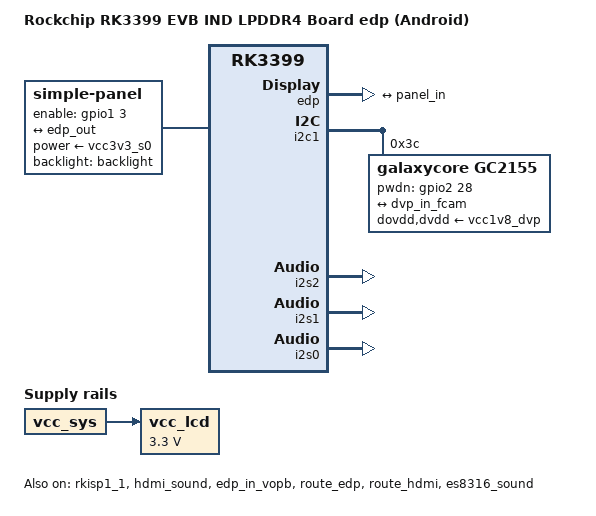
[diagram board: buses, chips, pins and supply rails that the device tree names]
// SPDX-License-Identifier: (GPL-2.0+ OR MIT)
/*
 * Copyright (c) 2019 Fuzhou Rockchip Electronics Co., Ltd
 */

/dts-v1/;

#include "rk3399-evb-ind-r08.dtsi"
#include "rk3399-android.dtsi"

/ {
	model = "Rockchip RK3399 EVB IND LPDDR4 Board edp (Android)";
	compatible = "rockchip,android", "rockchip,rk3399-evb-ind-lpddr4-android-r08", "rockchip,rk3399";
	chosen: chosen {
		bootargs = "earlycon=uart8250,mmio32,0xff1a0000 console=ttyFIQ0 androidboot.baseband=N/A androidboot.veritymode=enforcing androidboot.hardware=rk30board androidboot.console=ttyFIQ0 init=/init initrd=0x62000001,0x00800000 coherent_pool=1m";
	};

	iram: sram@ff8d0000 {
		compatible = "mmio-sram";
		reg = <0x0 0xff8d0000 0x0 0x20000>;
	};

	vcc_lcd: vcc-lcd {
		compatible = "regulator-fixed";
		regulator-name = "vcc_lcd";
		startup-delay-us = <20000>;
		enable-active-high;
		regulator-min-microvolt = <3300000>;
		regulator-max-microvolt = <3300000>;
		regulator-boot-on;
		vin-supply = <&vcc_sys>;
	};

	panel: panel {
		compatible = "simple-panel";
		backlight = <&backlight>;
		power-supply = <&vcc3v3_s0>;
		enable-gpios = <&gpio1 3 GPIO_ACTIVE_HIGH>;
		pinctrl-names = "default"; 
		pinctrl-0 = <&lcd_en>; 
	
		//WF1413 panel
		//prepare-delay-ms = <20>;
		//reset-delay-ms = <20>;
		//enable-delay-ms = <20>;
		
		//WF1713 panel
		reset-delay-ms = <60>;
		enable-delay-ms = <60>;
		prepare-delay-ms = <60>;
		unprepare-delay-ms = <60>;
		disable-delay-ms = <60>;
		
		bpc = <8>; //rocky
		bus-format = <MEDIA_BUS_FMT_RGB888_1X24>;//rocky
		//bpc = <6>;
		//bus-format = <MEDIA_BUS_FMT_RGB666_1X18>;//R156X40-196-1201
		
		display-timings {
			native-mode = <&timing0>;

			timing0: timing0 {
				clock-frequency = <138500000>;
				hactive = <1920>;
				vactive = <1080>;
				hfront-porch = <134>;
				hsync-len = <26>;
				hback-porch = <24>;
				vfront-porch = <16>;
				vsync-len = <6>;
				vback-porch = <14>;
				hsync-active = <0>;
				vsync-active = <0>;
				de-active = <0>;
				pixelclk-active = <0>;
			};
		};

		ports {
			panel_in: endpoint {
				remote-endpoint = <&edp_out>;
			};
		};
	};

	test-power {
		status = "okay";
	};
};

&backlight {
	enable-gpios = <&gpio1 10 GPIO_ACTIVE_LOW>;
	pinctrl-names = "default"; 
	pinctrl-0 = <&bl_en>; 
};

&dmac_bus {
	iram = <&iram>;
	rockchip,force-iram;
};

&dp_sound {
	status = "disabled";
};

&edp {
	status = "okay";
	force-hpd;

	ports {
		port@1 {
			reg = <1>;

			edp_out: endpoint {
				remote-endpoint = <&panel_in>;
			};
		};
	};
};

&i2c1 {
	status = "okay";

	gc2155: gc2155@3c {
		status = "okay";
		compatible = "galaxycore,gc2155";
		
		reg = <0x3c>;

		clocks = <&cru SCLK_CIF_OUT>;
		clock-names = "xvclk";

		//avdd-supply = <&vcc2v8_dvp>;
		dovdd-supply = <&vcc1v8_dvp>;
		dvdd-supply = <&vcc1v8_dvp>;

		pwdn-gpios = <&gpio2 28 GPIO_ACTIVE_HIGH>;
		rockchip,camera-module-index = <1>;
		rockchip,camera-module-facing = "front";		//"front";
		rockchip,camera-module-name = "CameraKing";
		rockchip,camera-module-lens-name = "Largan";

		pinctrl-names = "rockchip,camera_default";
		pinctrl-0 = <&cif_clkout>;		

		port {			
			gc2155_out: endpoint {
				remote-endpoint = <&dvp_in_fcam>;
			};
		};
	};
};

&rkisp1_1 {
	status = "okay";
	pinctrl-names = "default";
	pinctrl-0 = <&cif_clkout &isp_dvp_d0d7>;

	port {
		#address-cells = <1>;
		#size-cells = <0>;
		dvp_in_fcam: endpoint@0 {
			reg = <0>;
			remote-endpoint = <&gc2155_out>;
		};
	};
};

&i2s2 {
	#sound-dai-cells = <0>;
	status = "okay";
};

&hdmi_sound {
	status = "okay";
};

&edp_in_vopb {
	status = "okay";
};

&edp_in_vopl {
	status = "disabled";
};

&route_edp {
	connect = <&vopb_out_edp>;
	status = "okay";
};

&hdmi_in_vopb {
	status = "disabled";
};

&route_hdmi {
	status = "okay";
	connect = <&vopl_out_hdmi>;
};

&i2s1 {
	#sound-dai-cells = <0>;
	status = "okay";
};

&es8316_sound {
	status = "okay";
};

/*
 * if enable dp_sound, should disable spdif_sound and spdif_out
 */
&spdif_out {
	status = "disabled";
};

&spdif_sound {
	status = "disabled";
};

&i2s0 {
	#sound-dai-cells = <0>;
	status = "okay";
};

&pinctrl {
	lcd-panel {
		/*lcd_panel_reset: lcd-panel-reset {
			rockchip,pins = <1 RK_PC7 RK_FUNC_GPIO &pcfg_pull_up>;
		};*/
		lcd_en: lcd-en {
			rockchip,pins = <1 3 RK_FUNC_GPIO &pcfg_pull_up>;
		};
		bl_en: bl-en {
			rockchip,pins = <1 10 RK_FUNC_GPIO &pcfg_pull_up>;
		};
	};
};

